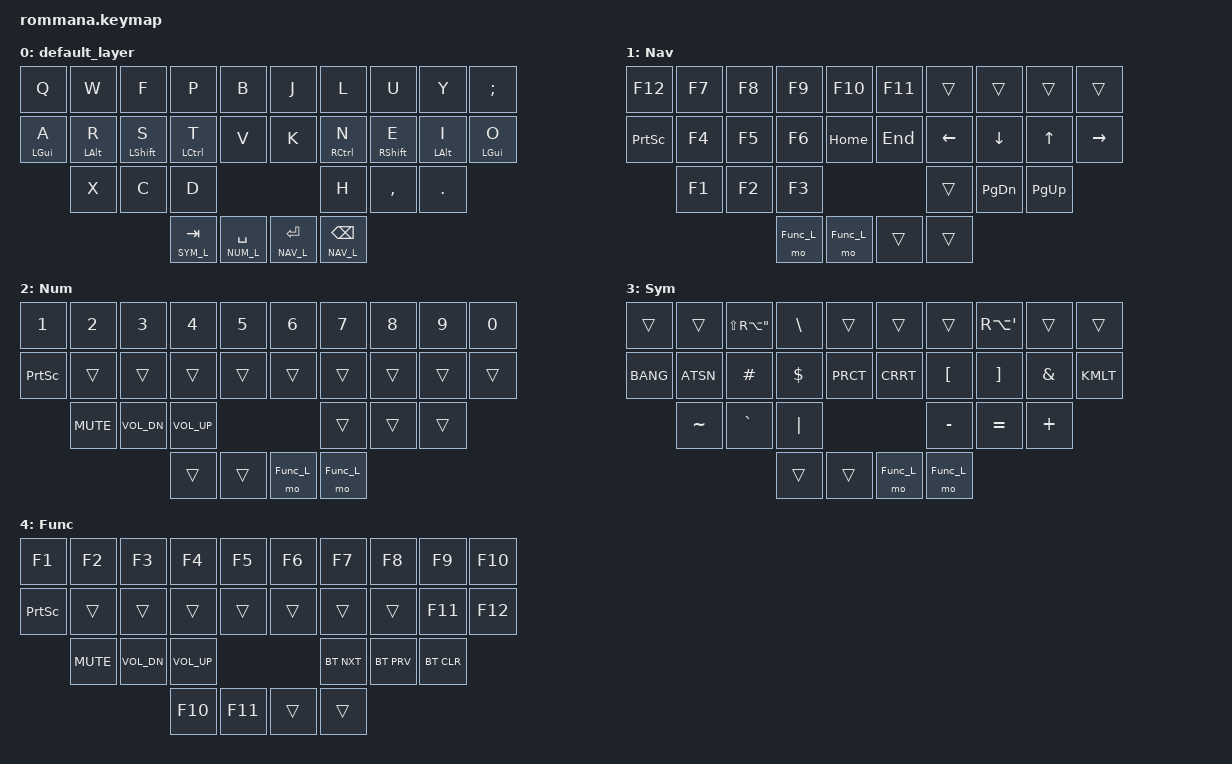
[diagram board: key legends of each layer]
/*
 * Copyright (c) 2022 The ZMK Contributors
 *
 * SPDX-License-Identifier: MIT
 */

#include <behaviors.dtsi>
#include <dt-bindings/zmk/keys.h>
#include <dt-bindings/zmk/bt.h>
#include <dt-bindings/zmk/outputs.h>

#define DEF_L 0
#define NAV_L 1
#define NUM_L 2
#define SYM_L 3
#define Func_L 4

// Using layer taps on thumbs, having quick tap as well helps w/ repeating space/backspace
&lt { quick_tap_ms = <200>; };

/ {
    behaviors {
        hm: homerow_mods {
            compatible = "zmk,behavior-hold-tap";
            #binding-cells = <2>;
            tapping_term_ms = <225>;
            flavor = "tap-preferred";
            bindings = <&kp>, <&kp>;
        };
    };

    macros {

        ZMK_MACRO(arrow,
            wait-ms = <30>;
            tap-ms = <40>;
            bindings = <&kp MINUS &kp LS(DOT)>;
        )

        ZMK_MACRO(eql_arrow,
            wait-ms = <30>;
            tap-ms = <40>;
            bindings = <&kp EQL &kp LS(DOT)>;
        )
    };

    combos {
        compatible = "zmk,combos";
        combo_z {
            timeout-ms = <100>;
            key-positions = <0 10>;
            layers = <0>;
            bindings = <&kp Z>;
        };
        combo_g {
            timeout-ms = <100>;
            key-positions = <4 14>;
            layers = <0>;
            bindings = <&kp G>;
        };

        combo_m {
            timeout-ms = <100>;
            key-positions = <5 15>;
            layers = <0>;
            bindings = <&kp M>;
        };

        combo_slash {
            timeout-ms = <100>;
            key-positions = <9 19>;
            layers = <0>;
            bindings = <&kp SLASH>;
        };

        combo_esc {
            timeout-ms = <50>;
            key-positions = <0 1>;
            bindings = <&kp ESC>;
        };

        combo_capsword {
            timeout-ms = <50>;
            key-positions = <12 17>;
            bindings = <&caps_word>;
        };

        combo_tab {
            timeout-ms = <50>;
            key-positions = <11 12>;
            layers = <0>;
            bindings = <&kp TAB>;
        };

       combo_LPRN {
            timeout-ms = <50>;
            key-positions = <2 12>;
            layers = <0 1 2 4>;
            bindings = <&kp LPRN>;
        };

        combo_LBRC {
            timeout-ms = <50>;
            key-positions = <3 13>;
            layers = <0 1 2 4>;
            bindings = <&kp LBRC>;
        };

        combo_LBKT {
            timeout-ms = <50>;
            key-positions = <1 11>;
            layers = <0 1 2 4>;
            bindings = <&kp LBKT>;
        };

        combo_RPRN {
            timeout-ms = <50>;
            key-positions = <7 17>;
            layers = <0 1 2 4>;
            bindings = <&kp RPRN>;
        };

        combo_RBRC {
            timeout-ms = <50>;
            key-positions = <6 16>;
            layers = <0 1 2 4>;
            bindings = <&kp RBRC>;
        };

        combo_RBKT {
            timeout-ms = <50>;
            key-positions = <8 18>;
            layers = <0 1 2 4>;
            bindings = <&kp RBKT>;
        };

        combo_UNDER {
            timeout-ms = <50>;
            key-positions = <16 23>;
            layers = <0 1 2 4>;
            bindings = <&kp UNDER>;
        };

         combo_del {
            timeout-ms = <50>;
            key-positions = <8 9>;
            layers = <0 1 2 4>;
            bindings = <&kp DEL>;
        };

        combo_ae {
            timeout-ms = <50>;
            key-positions = <17 18>;
            layers = <0 1 2 4>;
            bindings = <&kp RA(Q)>;
        };

        combo_oe {
            timeout-ms = <50>;
            key-positions = <24 25>;
            layers = <0 1 2 4>;
            bindings = <&kp RA(P)>;
        };

        combo_a {
            timeout-ms = <50>;
            key-positions = <7 8>;
            layers = <0 1 2 4>;
            bindings = <&kp RA(W)>;
        };

        combo_eql_arrow {
            timeout-ms = <50>;
            key-positions = <3 4>;
            layers = <0 1 2 4>;
            bindings = <&eql_arrow>;
        };

        combo_arrow {
            timeout-ms = <50>;
            key-positions = <13 14>;
            layers = <0 1 2 4>;
            bindings = <&arrow>;
        };

        combo_bspc {
            timeout-ms = <50>;
            key-positions = <23 24>;
            bindings = <&kp BKSP>;
        };

        combo_delword {
            timeout-ms = <50>;
            key-positions = <23 25>;
            layers = <0 1 2 4>;
            bindings = <&kp LC(BKSP)>;
        };

        combo_eql {
            timeout-ms = <50>;
            key-positions = <6 7>;
            layers = <0 1 2 4>;
            bindings = <&kp EQL>;
        };

        combo_minus {
            timeout-ms = <50>;
            key-positions = <2 3>;
            layers = <0 1 2 4>;
            bindings = <&kp MINUS>;
        };

        combo_plus {
            timeout-ms = <50>;
            key-positions = <21 22>;
            layers = <0 1 2 4>;
            bindings = <&kp PLUS>;
        };
 


    };

/*                KEY POSITIONS

  ╭────────────────────╮ ╭────────────────────╮
  │  0   1   2   3   4 │ │  5   6   7   8   9 │
  │ 10  11  12  13  14 │ │ 15  16  17  18  19 │
  │     20  21  22     │ │     23  24  25     │
  ╰───────────╮ 26  27 │ │ 28  29 ╭───────────╯
              ╰────────╯ ╰────────╯            */

    keymap {
        compatible = "zmk,keymap";

        default_layer {
            bindings = <
                &kp Q      &kp W      &kp F       &kp P           &kp B        &kp J            &kp L          &kp U       &kp Y      &kp SEMI
                &hm LGUI A &hm LALT R &hm LSHFT S &hm LCTRL T     &kp V        &kp K            &hm RCTRL N    &hm RSHFT E &hm LALT I &hm LGUI O
                           &kp X      &kp C       &kp D                                         &kp H          &kp COMMA  &kp DOT
                                                  &lt SYM_L TAB  &lt NUM_L SPACE       &lt NAV_L RET  &lt NAV_L BKSP
            >;
        };

        nav_layer {
            display-name = "Nav";
            bindings = <
                &kp F12    &kp F7     &kp F8      &kp F9          &kp F10      &kp F11          &trans        &trans     &trans     &trans
                &kp PSCRN  &kp F4     &kp F5      &kp F6          &kp HOME     &kp END          &kp LEFT      &kp DOWN   &kp UP     &kp RIGHT
                           &kp F1     &kp F2      &kp F3                                        &trans        &kp PG_DN  &kp PG_UP
                                                  &mo Func_L      &mo Func_L   &trans           &trans
            >;
        };

        num_layer {
            display-name = "Num";
            bindings = <
                &kp N1     &kp N2     &kp N3      &kp N4          &kp N5        &kp N6          &kp N7         &kp N8      &kp N9    &kp N0
                &kp PSCRN  &trans     &trans      &trans          &trans        &trans          &trans         &trans      &trans    &trans
                           &kp K_MUTE &kp K_VOL_DN &kp K_VOL_UP                                 &trans         &trans      &trans
                                                  &trans          &trans        &mo Func_L      &mo Func_L
            >;
        };

        sym_layer {
            display-name = "Sym";
            bindings = <
                &trans     &trans     &kp LS(RA(DQT))  &kp BACKSLASH &trans    &trans           &trans         &kp RA(SQT) &trans     &trans
                &kp BANG   &kp ATSN   &kp HASH    &kp DLLR        &kp PRCT     &kp CRRT         &kp LBKT       &kp RBKT    &kp AMPS   &kp KMLT
                           &kp TILDE  &kp GRAVE   &kp PIPE                                      &kp MINUS      &kp EQL     &kp PLUS
                                                  &trans          &trans       &mo Func_L       &mo Func_L
            >;
        };

        func_layer {
            display-name = "Func";
            bindings = <
                &kp F1     &kp F2     &kp F3      &kp F4          &kp F5       &kp F6           &kp F7        &kp F8     &kp F9     &kp F10
                &kp PSCRN  &trans     &trans      &trans          &trans       &trans           &trans        &trans     &kp F11    &kp F12
                           &kp K_MUTE &kp K_VOL_DN &kp K_VOL_UP                                 &bt BT_NXT    &bt BT_PRV &bt BT_CLR
                                                  &kp F10         &kp F11      &trans           &trans
            >;
        };
    };
};
